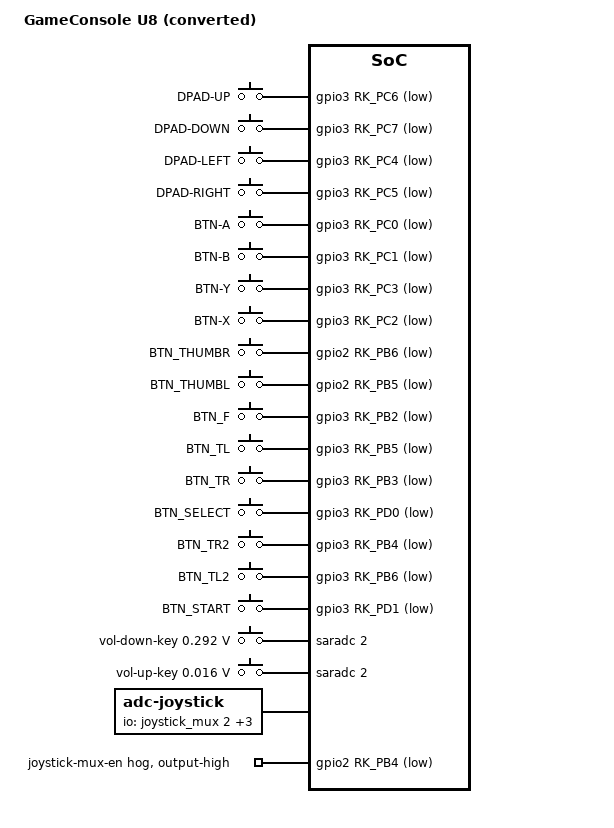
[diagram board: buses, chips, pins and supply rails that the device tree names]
// SPDX-License-Identifier: (GPL-2.0+ OR MIT)
/*
 * GameConsole U8, converted from a vendor RK3326 device tree by
 * `r36os dtb import` (boot-dtb-select D12). Do not edit: import again.
 * Source: arkos4clone/boot/dArkOS/consoles/u8 panel1/5.10/rk3326-u8-panel1-linux.dtb
 * SHA-256: ddd5cee1687050d6880db6ede339bd67a3bb073b435002a05ab0ce6ad4967c7a
 * Note: power: OTG_SWITCH not declared by the source: no voltage set, left on
 * Note: sticks: axes from the ROCKNIX joypad mapping, not measured
 * Note: speaker gain: source spk-volume 3 ignored, the native safe value is used
 */

#include "rk3326-r36s-v5.dts"

/ {
	model = "GameConsole U8 (converted)";

	lume-select {
		lume,id = "arkos4clone-u8-panel1-5.10-u8-panel1";
		lume,priority = <0>;
		/delete-property/ lume,default;
		/delete-property/ lume,panel-id;
	};

	/delete-node/ gpio-keys;
	/delete-node/ volume-keys;

	gpio-keys {
		compatible = "gpio-keys";
		pinctrl-names = "default";
		pinctrl-0 = <&btn_pins>;

		button-dpad-up {
			gpios = <&gpio3 RK_PC6 GPIO_ACTIVE_LOW>;
			label = "DPAD-UP";
			linux,code = <0x220>;
		};

		button-dpad-down {
			gpios = <&gpio3 RK_PC7 GPIO_ACTIVE_LOW>;
			label = "DPAD-DOWN";
			linux,code = <0x221>;
		};

		button-dpad-left {
			gpios = <&gpio3 RK_PC4 GPIO_ACTIVE_LOW>;
			label = "DPAD-LEFT";
			linux,code = <0x222>;
		};

		button-dpad-right {
			gpios = <&gpio3 RK_PC5 GPIO_ACTIVE_LOW>;
			label = "DPAD-RIGHT";
			linux,code = <0x223>;
		};

		button-btn-a {
			gpios = <&gpio3 RK_PC0 GPIO_ACTIVE_LOW>;
			label = "BTN-A";
			linux,code = <0x131>;
		};

		button-btn-b {
			gpios = <&gpio3 RK_PC1 GPIO_ACTIVE_LOW>;
			label = "BTN-B";
			linux,code = <0x130>;
		};

		button-btn-y {
			gpios = <&gpio3 RK_PC3 GPIO_ACTIVE_LOW>;
			label = "BTN-Y";
			linux,code = <0x134>;
		};

		button-btn-x {
			gpios = <&gpio3 RK_PC2 GPIO_ACTIVE_LOW>;
			label = "BTN-X";
			linux,code = <0x133>;
		};

		button-btn-thumbr {
			gpios = <&gpio2 RK_PB6 GPIO_ACTIVE_LOW>;
			label = "BTN_THUMBR";
			linux,code = <0x2c3>;
		};

		button-btn-thumbl {
			gpios = <&gpio2 RK_PB5 GPIO_ACTIVE_LOW>;
			label = "BTN_THUMBL";
			linux,code = <0x2c2>;
		};

		button-btn-f {
			gpios = <&gpio3 RK_PB2 GPIO_ACTIVE_LOW>;
			label = "BTN_F";
			linux,code = <0x2c4>;
		};

		button-btn-tl {
			gpios = <&gpio3 RK_PB5 GPIO_ACTIVE_LOW>;
			label = "BTN_TL";
			linux,code = <0x136>;
		};

		button-btn-tr {
			gpios = <&gpio3 RK_PB3 GPIO_ACTIVE_LOW>;
			label = "BTN_TR";
			linux,code = <0x137>;
		};

		button-btn-select {
			gpios = <&gpio3 RK_PD0 GPIO_ACTIVE_LOW>;
			label = "BTN_SELECT";
			linux,code = <0x2c0>;
		};

		button-btn-tr2 {
			gpios = <&gpio3 RK_PB4 GPIO_ACTIVE_LOW>;
			label = "BTN_TR2";
			linux,code = <0x139>;
		};

		button-btn-tl2 {
			gpios = <&gpio3 RK_PB6 GPIO_ACTIVE_LOW>;
			label = "BTN_TL2";
			linux,code = <0x138>;
		};

		button-btn-start {
			gpios = <&gpio3 RK_PD1 GPIO_ACTIVE_LOW>;
			label = "BTN_START";
			linux,code = <0x2c1>;
		};
	};

	adc-keys {
		compatible = "adc-keys";
		io-channels = <&saradc 2>;
		io-channel-names = "buttons";
		keyup-threshold-microvolt = <1800000>;
		poll-interval = <100>;

		button-vol-down-key {
			label = "vol-down-key";
			linux,code = <0x72>;
			press-threshold-microvolt = <291797>;
		};

		button-vol-up-key {
			label = "vol-up-key";
			linux,code = <0x73>;
			press-threshold-microvolt = <15820>;
		};
	};

	/delete-node/ adc-joystick;

	adc-joystick {
		compatible = "adc-joystick";
		io-channels = <&joystick_mux 2>,
			      <&joystick_mux 0>,
			      <&joystick_mux 1>,
			      <&joystick_mux 3>;
		poll-interval = <10>;
		#address-cells = <1>;
		#size-cells = <0>;

		axis@0 {
			reg = <0>;
			abs-flat = <32>;
			abs-fuzz = <32>;
			abs-range = <1023 0>;
			linux,code = <ABS_RY>;
		};

		axis@1 {
			reg = <1>;
			abs-flat = <32>;
			abs-fuzz = <32>;
			abs-range = <1023 0>;
			linux,code = <ABS_RX>;
		};

		axis@2 {
			reg = <2>;
			abs-flat = <32>;
			abs-fuzz = <32>;
			abs-range = <1023 0>;
			linux,code = <ABS_Y>;
		};

		axis@3 {
			reg = <3>;
			abs-flat = <32>;
			abs-fuzz = <32>;
			abs-range = <1023 0>;
			linux,code = <ABS_X>;
		};
	};

	mux-controller {
		mux-gpios = <&gpio2 RK_PC0 GPIO_ACTIVE_LOW>,
			    <&gpio2 RK_PB7 GPIO_ACTIVE_LOW>;
	};

	adc-mux {
		io-channels = <&saradc 1>;
	};

	/delete-node/ gpio-leds;

	rk817-sound {
		simple-audio-card,hp-det-gpios = <&gpio2 RK_PC6 GPIO_ACTIVE_LOW>;
	};
};

&internal_display {
	compatible = "rocknix,generic-dsi";
	/delete-property/ vcc-supply;
	vdd-supply = <&vcc_lcd>;
	reset-gpios = <&gpio3 RK_PB7 GPIO_ACTIVE_LOW>;
	enable-gpios = <&gpio0 RK_PB5 GPIO_ACTIVE_HIGH>;
	panel_description =
		"G size=153,85 delays=20,20,20,120,20 format=rgb888 lanes=2 flags=0xe03",
		"M clock=30000 horizontal=480,32,6,32 vertical=800,10,4,12 default=1",
		"M clock=30000 horizontal=480,32,6,32 vertical=800,10,4,95",
		"I seq=ffff98060401",
		"I seq=0810",
		"I seq=2101",
		"I seq=2203",
		"I seq=3002",
		"I seq=3100",
		"I seq=6007",
		"I seq=6100",
		"I seq=6208",
		"I seq=6300",
		"I seq=4015",
		"I seq=4166",
		"I seq=4213",
		"I seq=4308",
		"I seq=4405",
		"I seq=5070",
		"I seq=5170",
		"I seq=5200",
		"I seq=5364",
		"I seq=5750",
		"I seq=a00b",
		"I seq=a111",
		"I seq=a216",
		"I seq=a30b",
		"I seq=a403",
		"I seq=a507",
		"I seq=a606",
		"I seq=a704",
		"I seq=a809",
		"I seq=a90c",
		"I seq=aa11",
		"I seq=ab07",
		"I seq=ac0d",
		"I seq=ad1a",
		"I seq=ae13",
		"I seq=af08",
		"I seq=c00b",
		"I seq=c111",
		"I seq=c216",
		"I seq=c30b",
		"I seq=c403",
		"I seq=c507",
		"I seq=c606",
		"I seq=c704",
		"I seq=c809",
		"I seq=c90c",
		"I seq=ca11",
		"I seq=cb07",
		"I seq=cc0d",
		"I seq=cd1a",
		"I seq=ce13",
		"I seq=cf00",
		"I seq=ffff98060406",
		"I seq=0021",
		"I seq=010a",
		"I seq=0200",
		"I seq=0300",
		"I seq=0405",
		"I seq=0505",
		"I seq=0680",
		"I seq=0706",
		"I seq=0801",
		"I seq=0900",
		"I seq=0a00",
		"I seq=0b00",
		"I seq=0c06",
		"I seq=0d06",
		"I seq=0e00",
		"I seq=0f00",
		"I seq=10f0",
		"I seq=11f4",
		"I seq=1203",
		"I seq=1300",
		"I seq=1400",
		"I seq=15c0",
		"I seq=1608",
		"I seq=1700",
		"I seq=1800",
		"I seq=1900",
		"I seq=1a00",
		"I seq=1b00",
		"I seq=1c00",
		"I seq=1d00",
		"I seq=2001",
		"I seq=2123",
		"I seq=2245",
		"I seq=2367",
		"I seq=2401",
		"I seq=2523",
		"I seq=2645",
		"I seq=2767",
		"I seq=3001",
		"I seq=3111",
		"I seq=3200",
		"I seq=33ee",
		"I seq=34ff",
		"I seq=35cb",
		"I seq=36da",
		"I seq=37ad",
		"I seq=38bc",
		"I seq=3976",
		"I seq=3a67",
		"I seq=3b22",
		"I seq=3c22",
		"I seq=3d22",
		"I seq=3e22",
		"I seq=3f22",
		"I seq=4022",
		"I seq=5210",
		"I seq=5310",
		"I seq=5413",
		"I seq=ffff98060407",
		"I seq=1722",
		"I seq=0277",
		"I seq=e179",
		"I seq=b310",
		"I seq=26b2",
		"I seq=ffff98060400",
		"I seq=11 wait=78",
		"I seq=29 wait=a";
};

&dsi {
	rockchip,lane-rate = <400>;
};

&backlight {
	pwms = <&pwm1 0 25000 0>;
	/delete-property/ num-interpolated-steps;
	brightness-levels = <0 1 2 3 4 5 6 7 8 9 10 11 12 13 14 15 16 17 18 19 20 21 22 23 24 25 26 27 28 29 30 31 32 33 34 35 36 37 38 39 40 41 42 43 44 45 46 47 48 49 50 51 52 53 54 55 56 57 58 59 60 61 62 63 64 65 66 67 68 69 70 71 72 73 74 75 76 77 78 79 80 81 82 83 84 85 86 87 88 89 90 91 92 93 94 95 96 97 98 99 100 101 102 103 104 105 106 107 108 109 110 111 112 113 114 115 116 117 118 119 120 121 122 123 124 125 126 127 128 129 130 131 132 133 134 135 136 137 138 139 140 141 142 143 144 145 146 147 148 149 150 151 152 153 154 155 156 157 158 159 160 161 162 163 164 165 166 167 168 169 170 171 172 173 174 175 176 177 178 179 180 181 182 183 184 185 186 187 188 189 190 191 192 193 194 195 196 197 198 199 200 201 202 203 204 205 206 207 208 209 210 211 212 213 214 215 216 217 218 219 220 221 222 223 224 225 226 227 228 229 230 231 232 233 234 235 236 237 238 239 240 241 242 243 244 245 246 247 248 249 250 251 252 253 254 255>;
	default-brightness-level = <200>;
};

&battery {
	charge-full-design-microamp-hours = <2832000>;
	voltage-max-design-microvolt = <4046000>;
	voltage-min-design-microvolt = <3300000>;
	ocv-capacity-table-0 = <4046000 100>,
				<4001000 95>,
				<3967000 90>,
				<3940000 85>,
				<3910000 80>,
				<3870000 75>,
				<3830000 70>,
				<3790000 65>,
				<3750000 60>,
				<3720000 55>,
				<3690000 50>,
				<3650000 45>,
				<3610000 40>,
				<3570000 35>,
				<3540000 30>,
				<3500000 25>,
				<3460000 20>,
				<3420000 15>,
				<3380000 10>,
				<3340000 5>,
				<3300000 0>;
};

&spk_amp {
	enable-gpios = <&gpio3 RK_PA7 GPIO_ACTIVE_HIGH>;
};

&rk817 {
	interrupt-parent = <&gpio0>;
	interrupts = <RK_PB2 IRQ_TYPE_LEVEL_LOW>;
};

&rk817 {
	regulators {
		DCDC_REG1 {
			regulator-always-on;
			regulator-boot-on;
			regulator-min-microvolt = <950000>;
			regulator-max-microvolt = <1350000>;
			regulator-name = "vdd_logic";

			regulator-state-mem {
				regulator-on-in-suspend;
				/delete-property/ regulator-off-in-suspend;
				regulator-suspend-microvolt = <950000>;
			};
		};
		DCDC_REG2 {
			regulator-always-on;
			regulator-boot-on;
			regulator-min-microvolt = <950000>;
			regulator-max-microvolt = <1350000>;
			regulator-name = "vdd_arm";

			regulator-state-mem {
				/delete-property/ regulator-on-in-suspend;
				regulator-off-in-suspend;
				regulator-suspend-microvolt = <950000>;
			};
		};
		DCDC_REG3 {
			regulator-always-on;
			regulator-boot-on;
			/delete-property/ regulator-min-microvolt;
			/delete-property/ regulator-max-microvolt;
			regulator-name = "vcc_ddr";

			regulator-state-mem {
				regulator-on-in-suspend;
				/delete-property/ regulator-off-in-suspend;
				/delete-property/ regulator-suspend-microvolt;
			};
		};
		DCDC_REG4 {
			regulator-always-on;
			regulator-boot-on;
			regulator-min-microvolt = <3000000>;
			regulator-max-microvolt = <3000000>;
			regulator-name = "vcc_3v0";

			regulator-state-mem {
				/delete-property/ regulator-on-in-suspend;
				regulator-off-in-suspend;
				regulator-suspend-microvolt = <3000000>;
			};
		};
		LDO_REG1 {
			regulator-always-on;
			regulator-boot-on;
			regulator-min-microvolt = <1000000>;
			regulator-max-microvolt = <1000000>;
			regulator-name = "vcc_1v0";

			regulator-state-mem {
				regulator-on-in-suspend;
				/delete-property/ regulator-off-in-suspend;
				regulator-suspend-microvolt = <1000000>;
			};
		};
		LDO_REG2 {
			regulator-always-on;
			regulator-boot-on;
			regulator-min-microvolt = <1800000>;
			regulator-max-microvolt = <1800000>;
			regulator-name = "vcc1v8_soc";

			regulator-state-mem {
				regulator-on-in-suspend;
				/delete-property/ regulator-off-in-suspend;
				regulator-suspend-microvolt = <1800000>;
			};
		};
		LDO_REG3 {
			regulator-always-on;
			regulator-boot-on;
			regulator-min-microvolt = <1000000>;
			regulator-max-microvolt = <1000000>;
			regulator-name = "vcc1v0_soc";

			regulator-state-mem {
				regulator-on-in-suspend;
				/delete-property/ regulator-off-in-suspend;
				regulator-suspend-microvolt = <1000000>;
			};
		};
		LDO_REG4 {
			regulator-always-on;
			regulator-boot-on;
			regulator-min-microvolt = <3000000>;
			regulator-max-microvolt = <3000000>;
			regulator-name = "vcc3v0_pmu";

			regulator-state-mem {
				regulator-on-in-suspend;
				/delete-property/ regulator-off-in-suspend;
				regulator-suspend-microvolt = <3000000>;
			};
		};
		LDO_REG5 {
			regulator-always-on;
			regulator-boot-on;
			regulator-min-microvolt = <1800000>;
			regulator-max-microvolt = <3300000>;
			regulator-name = "vccio_sd";

			regulator-state-mem {
				regulator-on-in-suspend;
				/delete-property/ regulator-off-in-suspend;
				regulator-suspend-microvolt = <3300000>;
			};
		};
		LDO_REG6 {
			regulator-min-microvolt = <3300000>;
			regulator-max-microvolt = <3300000>;
			regulator-name = "vcc_sd";

			regulator-state-mem {
				regulator-on-in-suspend;
				/delete-property/ regulator-off-in-suspend;
				regulator-suspend-microvolt = <3300000>;
			};
		};
		LDO_REG7 {
			regulator-always-on;
			regulator-boot-on;
			regulator-min-microvolt = <1800000>;
			regulator-max-microvolt = <3300000>;
			regulator-name = "vcc2v8_dvp";

			regulator-state-mem {
				regulator-on-in-suspend;
				/delete-property/ regulator-off-in-suspend;
				regulator-suspend-microvolt = <3300000>;
			};
		};
		LDO_REG8 {
			regulator-always-on;
			regulator-boot-on;
			regulator-min-microvolt = <3300000>;
			regulator-max-microvolt = <3300000>;
			regulator-name = "vcc_lcd";

			regulator-state-mem {
				regulator-on-in-suspend;
				/delete-property/ regulator-off-in-suspend;
				regulator-suspend-microvolt = <3300000>;
			};
		};
		LDO_REG9 {
			regulator-always-on;
			regulator-boot-on;
			regulator-min-microvolt = <1500000>;
			regulator-max-microvolt = <1500000>;
			regulator-name = "vdd1v5_dvp";

			regulator-state-mem {
				/delete-property/ regulator-on-in-suspend;
				regulator-off-in-suspend;
				regulator-suspend-microvolt = <1500000>;
			};
		};
		BOOST {
			regulator-always-on;
			regulator-boot-on;
			regulator-min-microvolt = <5000000>;
			regulator-max-microvolt = <5400000>;
			regulator-name = "boost";
			/delete-node/ regulator-state-mem;
		};
		OTG_SWITCH {
			/delete-property/ regulator-min-microvolt;
			/delete-property/ regulator-max-microvolt;
			/delete-node/ regulator-state-mem;
		};
	};
};

&io_domains {
	vccio1-supply = <&{/i2c@ff180000/pmic@20/regulators/LDO_REG7}>;
	vccio2-supply = <&{/i2c@ff180000/pmic@20/regulators/LDO_REG5}>;
	vccio3-supply = <&{/i2c@ff180000/pmic@20/regulators/LDO_REG2}>;
	vccio4-supply = <&{/i2c@ff180000/pmic@20/regulators/DCDC_REG4}>;
	vccio5-supply = <&{/i2c@ff180000/pmic@20/regulators/DCDC_REG4}>;
	vccio6-supply = <&{/i2c@ff180000/pmic@20/regulators/LDO_REG2}>;
	/delete-property/ vccio-oscgpi-supply;
};

&pmu_io_domains {
	pmuio1-supply = <&{/i2c@ff180000/pmic@20/regulators/LDO_REG4}>;
	pmuio2-supply = <&{/i2c@ff180000/pmic@20/regulators/LDO_REG4}>;
};

&gpio0 {
	/delete-node/ joystick-mux-en-hog;
};

&gpio1 {
	/delete-node/ lcd-enable-hog;
};

&gpio2 {
	joystick-mux-en-hog {
		gpio-hog;
		gpios = <RK_PB4 GPIO_ACTIVE_LOW>;
		output-high;
		line-name = "joystick-mux-en";
	};
};

&gpio3 {
	/delete-node/ lcd-stbyb-hog;
};

&btn_pins {
	rockchip,pins =
		<3 RK_PC6 RK_FUNC_GPIO &pcfg_pull_up>,
		<3 RK_PC7 RK_FUNC_GPIO &pcfg_pull_up>,
		<3 RK_PC4 RK_FUNC_GPIO &pcfg_pull_up>,
		<3 RK_PC5 RK_FUNC_GPIO &pcfg_pull_up>,
		<3 RK_PC0 RK_FUNC_GPIO &pcfg_pull_up>,
		<3 RK_PC1 RK_FUNC_GPIO &pcfg_pull_up>,
		<3 RK_PC3 RK_FUNC_GPIO &pcfg_pull_up>,
		<3 RK_PC2 RK_FUNC_GPIO &pcfg_pull_up>,
		<2 RK_PB6 RK_FUNC_GPIO &pcfg_pull_up>,
		<2 RK_PB5 RK_FUNC_GPIO &pcfg_pull_up>,
		<3 RK_PB2 RK_FUNC_GPIO &pcfg_pull_up>,
		<3 RK_PB5 RK_FUNC_GPIO &pcfg_pull_up>,
		<3 RK_PB3 RK_FUNC_GPIO &pcfg_pull_up>,
		<3 RK_PD0 RK_FUNC_GPIO &pcfg_pull_up>,
		<3 RK_PB4 RK_FUNC_GPIO &pcfg_pull_up>,
		<3 RK_PB6 RK_FUNC_GPIO &pcfg_pull_up>,
		<3 RK_PD1 RK_FUNC_GPIO &pcfg_pull_up>;
};

&hp_det {
	rockchip,pins = <2 RK_PC6 RK_FUNC_GPIO &pcfg_pull_none>;
};

&spk_amp_enable_h {
	rockchip,pins = <3 RK_PA7 RK_FUNC_GPIO &pcfg_pull_none>;
};

&pmic_int {
	rockchip,pins = <0 RK_PB2 RK_FUNC_GPIO &pcfg_pull_up>;
};
